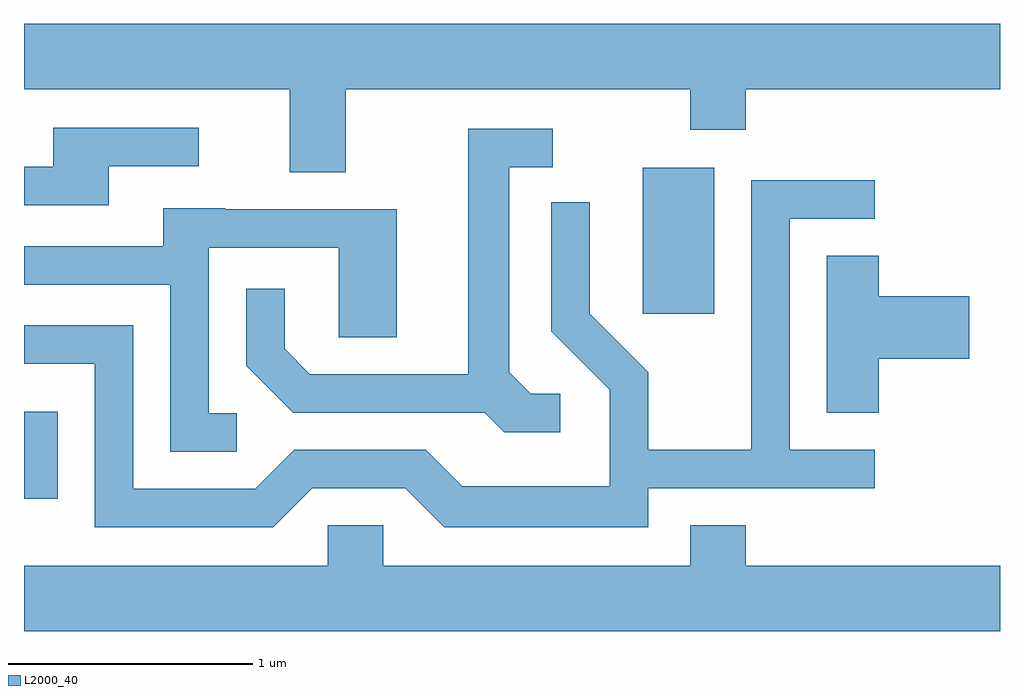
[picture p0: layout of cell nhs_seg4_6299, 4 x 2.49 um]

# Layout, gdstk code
import gdstk
lib = gdstk.Library(unit=1e-6, precision=1e-09)
def R(c, l, rs):  # rectangles x0, y0, x1, y1
    for r in rs: c.add(gdstk.rectangle(r[:2], r[2:], *l))
def P(c, l, *ps):  # polygons
    for p in ps: c.add(gdstk.Polygon(p, *l))
L2000_40 = (2000, 40)

nhs_seg4_6299 = lib.new_cell('nhs_seg4_6299')
R(nhs_seg4_6299, L2000_40, [(369.611,1341.898,369.749,1342.254), (372.146,1342.656,372.439,1343.254)])
P(nhs_seg4_6299, L2000_40, [(370.929,1343.576),(372.341,1343.576),(372.341,1343.411),(372.569,1343.411),(372.569,1343.576),(373.611,1343.576),(373.611,1343.844),(369.611,1343.844),(369.611,1343.576),(370.701,1343.576),(370.701,1343.236),(370.929,1343.236)],
  [(369.959,1343.261),(370.328,1343.261),(370.328,1343.419),(369.731,1343.419),(369.731,1343.259),(369.611,1343.259),(369.611,1343.101),(369.959,1343.101)],
  [(371.808,1342.329),(371.687,1342.329),(371.599,1342.417),(371.599,1343.256),(371.778,1343.256),(371.778,1343.414),(371.431,1343.414),(371.431,1342.409),(370.782,1342.409),(370.679,1342.512),(370.679,1342.758),(370.521,1342.758),(370.521,1342.444),(370.714,1342.251),(371.499,1342.251),(371.579,1342.171),(371.808,1342.171)],
  [(370.792,1341.941),(371.174,1341.941),(371.334,1341.781),(372.169,1341.781),(372.169,1341.941),(373.098,1341.941),(373.098,1342.099),(372.749,1342.099),(372.749,1343.046),(373.098,1343.046),(373.098,1343.204),(372.591,1343.204),(372.591,1342.099),(372.169,1342.099),(372.169,1342.417),(371.929,1342.657),(371.929,1343.113),(371.771,1343.113),(371.771,1342.584),(372.011,1342.344),(372.011,1341.949),(371.407,1341.949),(371.257,1342.099),(370.719,1342.099),(370.559,1341.939),(370.059,1341.939),(370.059,1342.609),(369.611,1342.609),(369.611,1342.451),(369.901,1342.451),(369.901,1341.781),(370.632,1341.781)],
  [(370.483,1342.249),(370.369,1342.249),(370.369,1342.926),(370.901,1342.926),(370.901,1342.561),(371.139,1342.561),(371.139,1343.084),(370.435,1343.084),(370.435,1343.089),(370.181,1343.089),(370.181,1342.934),(369.611,1342.934),(369.611,1342.776),(370.211,1342.776),(370.211,1342.091),(370.483,1342.091)],
  [(373.114,1342.471),(373.484,1342.471),(373.484,1342.729),(373.114,1342.729),(373.114,1342.894),(372.901,1342.894),(372.901,1342.251),(373.114,1342.251)],
  [(373.611,1341.624),(372.569,1341.624),(372.569,1341.789),(372.341,1341.789),(372.341,1341.624),(371.084,1341.624),(371.084,1341.789),(370.856,1341.789),(370.856,1341.624),(369.611,1341.624),(369.611,1341.356),(373.611,1341.356)])

lib.write_gds('nhs_seg4_6299.gds')
